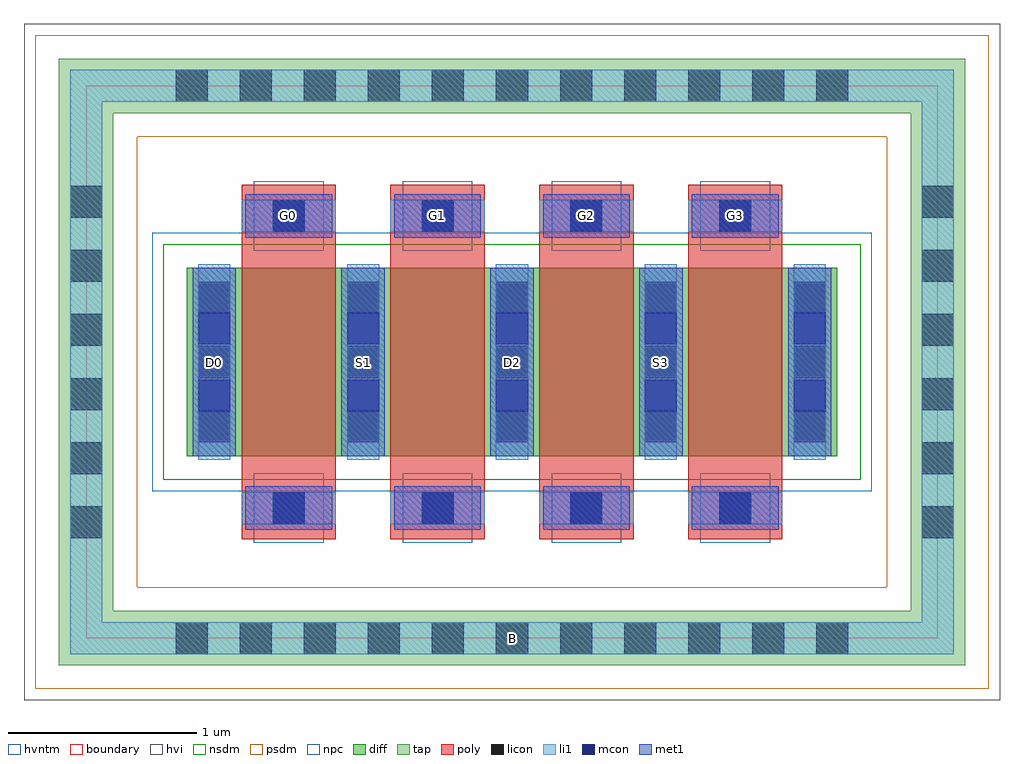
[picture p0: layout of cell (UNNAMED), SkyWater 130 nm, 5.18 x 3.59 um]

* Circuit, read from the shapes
.subckt (UNNAMED) B D0 D2 G0 G1 G2 G3 S1 S3
XM1 S1 G0 D0 B sky130_fd_pr__nfet_g5v0d10v5 w=1 l=0.5
XM2 D2 G1 S1 B sky130_fd_pr__nfet_g5v0d10v5 w=1 l=0.5
XM3 S3 G2 D2 B sky130_fd_pr__nfet_g5v0d10v5 w=1 l=0.5
XM4 n1 G3 S3 B sky130_fd_pr__nfet_g5v0d10v5 w=1 l=0.5
.ends

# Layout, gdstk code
import gdstk
lib = gdstk.Library(unit=1e-6, precision=1e-09)
def R(c, l, rs):  # rectangles x0, y0, x1, y1
    for r in rs: c.add(gdstk.rectangle(r[:2], r[2:], *l))
def A(c, l, x, y, w, h, nx, ny, dx, dy):  # array of equal rectangles
    R(c, l, [(x+i*dx, y+j*dy, x+i*dx+w, y+j*dy+h) for i in range(nx) for j in range(ny)])
diff = (65, 20)
tap = (65, 44)
poly = (66, 20)
licon = (66, 44)
li1 = (67, 20)
mcon = (67, 44)
met1 = (68, 20)
hvi = (75, 20)
nsdm = (93, 44)
psdm = (94, 20)
npc = (95, 20)
hvntm = (125, 20)
boundary = (235, 4)

c__unnamed_ = lib.new_cell('(UNNAMED)')
R(c__unnamed_, diff, [(-1.725,-0.5,1.725,0.5)])
R(c__unnamed_, tap, [(-2.405,-1.61,2.405,-1.32), (-2.405,-1.32,-2.115,1.32), (2.115,-1.32,2.405,1.32), (-2.405,1.32,2.405,1.61)])
A(c__unnamed_, poly, -1.435, -0.94, 0.5, 1.88, 4, 1, 0.79, 0)
A(c__unnamed_, licon, -1.785, -1.55, 0.17, 0.17, 11, 2, 0.34, 2.93)
A(c__unnamed_, licon, -2.345, -0.935, 0.17, 0.17, 1, 6, 0, 0.34)
A(c__unnamed_, licon, 2.175, -0.935, 0.17, 0.17, 1, 6, 0, 0.34)
A(c__unnamed_, licon, -1.27, -0.86, 0.17, 0.17, 4, 2, 0.79, 1.55)
A(c__unnamed_, licon, -1.665, -0.425, 0.17, 0.17, 5, 3, 0.79, 0.34)
A(c__unnamed_, li1, -1.435, -0.86, 0.5, 0.17, 4, 2, 0.79, 1.55)
A(c__unnamed_, li1, -1.665, -0.52, 0.17, 1.04, 5, 1, 0.79, 0)
R(c__unnamed_, li1, [(-2.345,-1.55,2.345,-1.38), (-2.345,-1.38,-2.175,1.38), (2.175,-1.38,2.345,1.38), (-2.345,1.38,2.345,1.55)])
A(c__unnamed_, mcon, -1.27, -0.86, 0.17, 0.17, 4, 2, 0.79, 1.55)
A(c__unnamed_, mcon, -1.665, -0.265, 0.17, 0.17, 5, 2, 0.79, 0.36)
A(c__unnamed_, met1, -1.415, -0.89, 0.46, 0.23, 4, 2, 0.79, 1.55)
A(c__unnamed_, met1, -1.695, -0.5, 0.23, 1, 5, 1, 0.79, 0)
R(c__unnamed_, hvi, [(-2.59,-1.795,2.59,1.795)])
R(c__unnamed_, nsdm, [(-1.85,-0.625,1.85,0.625)])
R(c__unnamed_, psdm, [(-2.53,-1.735,2.53,-1.195), (-2.53,-1.195,-1.99,1.195), (1.99,-1.195,2.53,1.195), (-2.53,1.195,2.53,1.735)])
A(c__unnamed_, npc, -1.37, -0.96, 0.37, 0.37, 4, 2, 0.79, 1.55)
R(c__unnamed_, hvntm, [(-1.91,-0.685,1.91,0.685)])
R(c__unnamed_, boundary, [(-2.26,-1.465,2.26,1.465)])
c__unnamed_.add(gdstk.Label('B', (0,-1.465), layer=67, texttype=5))
c__unnamed_.add(gdstk.Label('D0', (-1.58,0), layer=67, texttype=5))
c__unnamed_.add(gdstk.Label('G0', (-1.185,0.775), layer=67, texttype=5))
c__unnamed_.add(gdstk.Label('S1', (-0.79,0), layer=67, texttype=5))
c__unnamed_.add(gdstk.Label('G1', (-0.395,0.775), layer=67, texttype=5))
c__unnamed_.add(gdstk.Label('D2', (0,0), layer=67, texttype=5))
c__unnamed_.add(gdstk.Label('G2', (0.395,0.775), layer=67, texttype=5))
c__unnamed_.add(gdstk.Label('S3', (0.79,0), layer=67, texttype=5))
c__unnamed_.add(gdstk.Label('G3', (1.185,0.775), layer=67, texttype=5))

lib.write_gds('_UNNAMED_.gds')
